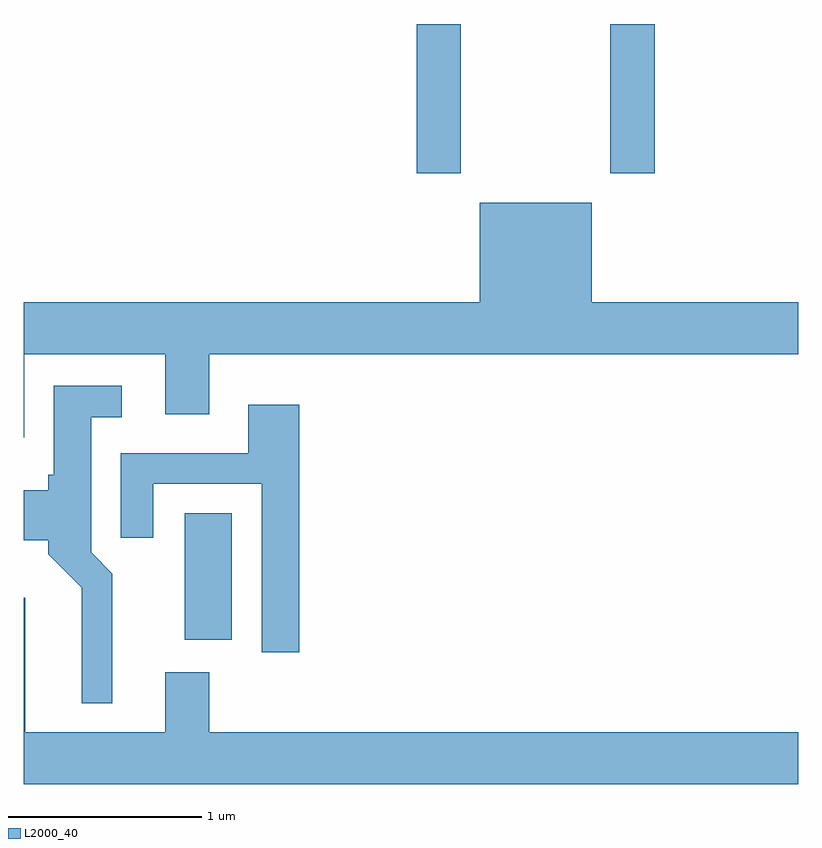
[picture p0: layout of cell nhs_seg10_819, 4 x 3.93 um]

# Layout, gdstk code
import gdstk
lib = gdstk.Library(unit=1e-6, precision=1e-09)
def R(c, l, rs):  # rectangles x0, y0, x1, y1
    for r in rs: c.add(gdstk.rectangle(r[:2], r[2:], *l))
def P(c, l, *ps):  # polygons
    for p in ps: c.add(gdstk.Polygon(p, *l))
L2000_40 = (2000, 40)

nhs_seg10_819 = lib.new_cell('nhs_seg10_819')
R(nhs_seg10_819, L2000_40, [(210.441,2101.341,210.684,2101.994), (211.641,2103.751,211.869,2104.522), (212.641,2103.751,212.869,2104.522)])
P(nhs_seg10_819, L2000_40, [(209.614,2102.816),(210.341,2102.816),(210.341,2102.506),(210.569,2102.506),(210.569,2102.816),(213.611,2102.816),(213.611,2103.084),(212.544,2103.084),(212.544,2103.599),(211.966,2103.599),(211.966,2103.084),(209.611,2103.084),(209.611,2102.388),(209.614,2102.388)],
  [(210.069,2101.682),(209.959,2101.792),(209.959,2102.491),(210.118,2102.491),(210.118,2102.654),(209.766,2102.654),(209.766,2102.194),(209.736,2102.194),(209.736,2102.114),(209.611,2102.114),(209.611,2101.856),(209.736,2101.856),(209.736,2101.784),(209.911,2101.609),(209.911,2101.013),(210.069,2101.013)],
  [(211.034,2102.554),(210.771,2102.554),(210.771,2102.304),(210.111,2102.304),(210.111,2101.868),(210.279,2101.868),(210.279,2102.146),(210.841,2102.146),(210.841,2101.276),(211.034,2101.276)],
  [(213.611,2100.864),(210.569,2100.864),(210.569,2101.174),(210.341,2101.174),(210.341,2100.864),(209.619,2100.864),(209.619,2101.559),(209.611,2101.559),(209.611,2100.596),(213.611,2100.596)])

lib.write_gds('nhs_seg10_819.gds')
